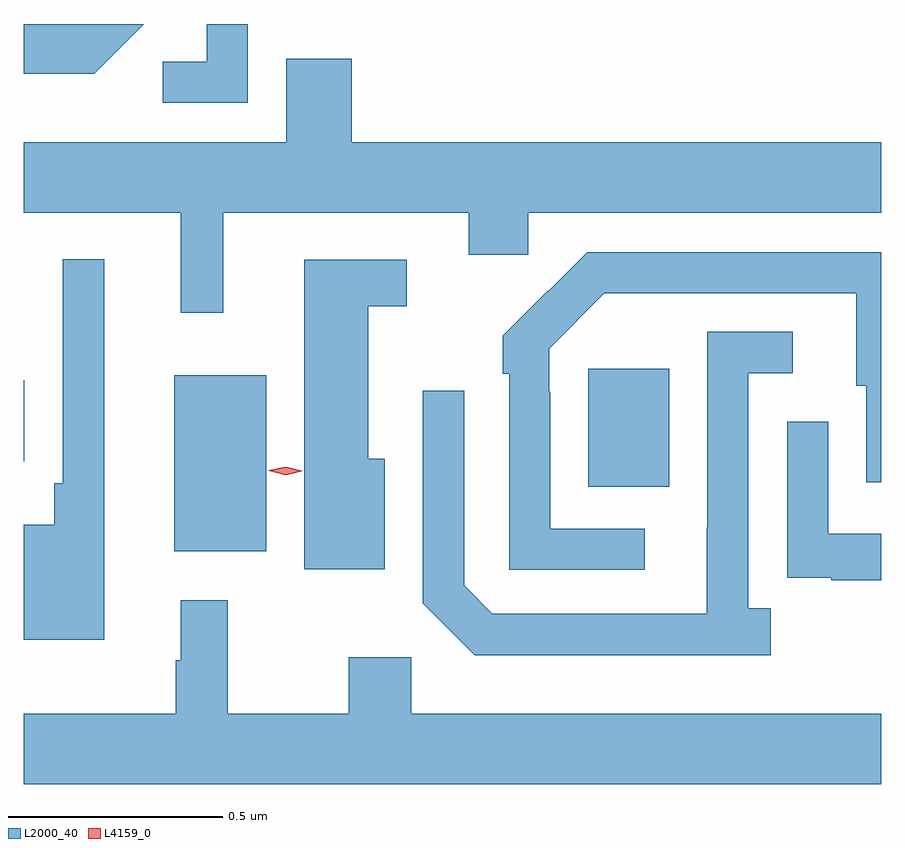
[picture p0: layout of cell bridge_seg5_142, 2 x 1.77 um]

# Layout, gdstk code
import gdstk
lib = gdstk.Library(unit=1e-6, precision=1e-09)
def R(c, l, rs):  # rectangles x0, y0, x1, y1
    for r in rs: c.add(gdstk.rectangle(r[:2], r[2:], *l))
def P(c, l, *ps):  # polygons
    for p in ps: c.add(gdstk.Polygon(p, *l))
L2000_40 = (2000, 40)
L4159_0 = (4159, 0)

bridge_seg5_142 = lib.new_cell('bridge_seg5_142')
R(bridge_seg5_142, L2000_40, [(310.019,877.283,310.234,877.693), (310.985,877.433,311.173,877.708), (309.668,877.493,309.67,877.681)])
P(bridge_seg5_142, L2000_40, [(309.913,878.477),(309.948,878.512),(309.668,878.512),(309.668,878.396),(309.833,878.396)],
  [(310.191,878.512),(310.095,878.512),(310.095,878.424),(309.993,878.424),(309.993,878.328),(310.191,878.328)],
  [(310.133,878.072),(310.706,878.072),(310.706,877.974),(310.845,877.974),(310.845,878.072),(311.668,878.072),(311.668,878.236),(310.433,878.236),(310.433,878.431),(310.28,878.431),(310.28,878.236),(309.668,878.236),(309.668,878.072),(310.034,878.072),(310.034,877.839),(310.133,877.839)],
  [(311.116,877.335),(310.896,877.335),(310.896,877.655),(310.893,877.655),(310.893,877.755),(311.022,877.884),(311.609,877.884),(311.609,877.668),(311.633,877.668),(311.633,877.443),(311.668,877.443),(311.668,877.98),(310.982,877.98),(310.891,877.889),(310.89,877.89),(310.785,877.785),(310.785,877.697),(310.8,877.697),(310.8,877.239),(311.116,877.239)],
  [(309.856,877.963),(309.759,877.963),(309.759,877.441),(309.739,877.441),(309.739,877.345),(309.668,877.345),(309.668,877.076),(309.856,877.076)],
  [(310.51,877.498),(310.471,877.498),(310.471,877.854),(310.561,877.854),(310.561,877.962),(310.322,877.962),(310.322,877.241),(310.51,877.241)],
  [(311.41,877.15),(311.358,877.15),(311.358,877.698),(311.461,877.698),(311.461,877.794),(311.262,877.794),(311.262,877.337),(311.261,877.337),(311.261,877.137),(310.761,877.137),(310.695,877.203),(310.695,877.657),(310.599,877.657),(310.599,877.161),(310.72,877.04),(311.41,877.04)],
  [(311.668,877.323),(311.544,877.323),(311.544,877.585),(311.448,877.585),(311.448,877.33),(311.449,877.33),(311.449,877.221),(311.551,877.221),(311.551,877.215),(311.668,877.215)],
  [(311.668,876.904),(310.572,876.904),(310.572,877.036),(310.426,877.036),(310.426,876.904),(310.144,876.904),(310.144,877.168),(310.034,877.168),(310.034,877.028),(310.023,877.028),(310.023,876.904),(309.668,876.904),(309.668,876.74),(311.668,876.74)])
P(bridge_seg5_142, L4159_0, [(310.279,877.46),(310.24,877.47),(310.24,877.47),(310.24,877.471),(310.279,877.48),(310.317,877.47),(310.318,877.47),(310.317,877.469)])

lib.write_gds('bridge_seg5_142.gds')
